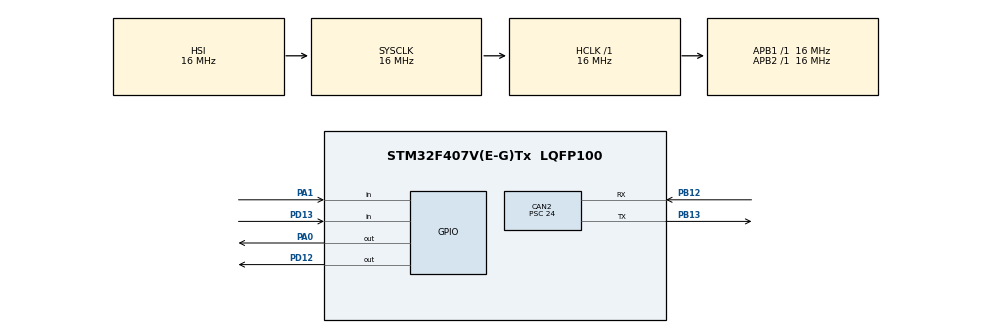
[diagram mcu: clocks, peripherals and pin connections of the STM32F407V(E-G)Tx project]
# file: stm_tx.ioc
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CAN2.BS1=CAN_BS1_13TQ
CAN2.BS2=CAN_BS2_2TQ
CAN2.CalculateBaudRate=41666
CAN2.CalculateTimeBit=24000
CAN2.CalculateTimeQuantum=1500.0
CAN2.Prescaler=24
Mcu.Family=STM32F4
Mcu.Name=STM32F407V(E-G)Tx
Mcu.Package=LQFP100
NVIC.PriorityGroup=NVIC_PRIORITYGROUP_4
PA0-WKUP.Signal=GPIO_Output
PA1.Signal=GPIO_Input
PA13.Mode=Serial_Wire
PA13.Signal=SYS_JTMS-SWDIO
PA14.Mode=Serial_Wire
PA14.Signal=SYS_JTCK-SWCLK
PB12.Mode=CAN_Activate
PB12.Signal=CAN2_RX
PB13.Mode=CAN_Activate
PB13.Signal=CAN2_TX
PD12.Signal=GPIO_Output
PD13.Signal=GPIO_Input
ProjectManager.HeapSize=0x200
ProjectManager.StackSize=0x400
ProjectManager.TargetToolchain=STM32CubeIDE
RCC.AHBFreq_Value=16000000
RCC.APB1Freq_Value=16000000
RCC.APB2Freq_Value=16000000
RCC.CortexFreq_Value=16000000
RCC.HSE_VALUE=25000000
RCC.HSI_VALUE=16000000
RCC.LSE_VALUE=32768
RCC.SYSCLKFreq_VALUE=16000000
RCC.VCOOutputFreq_Value=192000000
TIM2.Prescaler=83
VP_TIM2_VS_ClockSourceINT.Mode=Internal
board=custom

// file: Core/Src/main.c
/* USER CODE BEGIN Header */
/**
  ******************************************************************************
  * Authors: Prasad Kulkarni,Onkar chougule, Lalit Deshpande,Karan Solanki
  * CDAC ACTS,pune DESD(march 2024)
  * @file           : main.c
  * @brief          : Transmitting ultrasonic data to another node via CAN
  ******************************************************************************
  * @attention
  *
  * Copyright (c) 2024 STMicroelectronics.
  * All rights reserved.
  *
  * This software is licensed under terms that can be found in the LICENSE file
  * in the root directory of this software component.
  * If no LICENSE file comes with this software, it is provided AS-IS.
  *
  ******************************************************************************
  */
/* USER CODE END Header */
#include "main.h"
/* USER CODE BEGIN Includes */
#include <stdio.h>
#include <string.h>
/* USER CODE END Includes */

/* USER CODE BEGIN PD */

#define TRIG_PORT_FRONT  GPIOA
#define TRIG_PIN_FRONT   GPIO_PIN_0
#define ECHO_PIN_FRONT   GPIO_PIN_1
#define TRIG_PORT_REAR	 GPIOD
#define TRIG_PIN_REAR    GPIO_PIN_12
#define ECHO_PIN_REAR  	 GPIO_PIN_13

/* USER CODE END PD */

CAN_HandleTypeDef hcan2;
TIM_HandleTypeDef htim2;
/* USER CODE BEGIN PV */
uint8_t distance_message[8];
float distance_front;
float distance_rear;
/* USER CODE END PV */

void SystemClock_Config(void);
static void MX_GPIO_Init(void);
static void MX_CAN2_Init(void);
static void MX_TIM2_Init(void);
/* USER CODE BEGIN PFP */
/* Private function prototypes -----------------------------------------------*/
void SystemClock_Config(void);
static void MX_GPIO_Init(void);
static void MX_CAN2_Init(void);
static void MX_TIM2_Init(void);
/* USER CODE END PFP */

/* USER CODE BEGIN 0 */
float getDistance(GPIO_TypeDef *GPIO_PORT, uint16_t GPIO_Pin_Trigger, uint16_t GPIO_Pin_Echo);
void CAN_Filter_Config(void);
void CAN2_Tx(float,float);
void Error_Handler(void);
/* USER CODE END 0 */

int main(void)
{

  /* MCU Configuration--------------------------------------------------------*/

  /* Reset of all peripherals, Initializes the Flash interface and the Systick. */

	HAL_Init();

  /* Configure the system clock */
  SystemClock_Config();

  /* Initialize all configured peripherals */
  MX_GPIO_Init();
  MX_CAN2_Init();
  MX_TIM2_Init();
  /* USER CODE BEGIN 2 */
  CAN_Filter_Config();

  if (HAL_CAN_Start(&hcan2) != HAL_OK)
  {
    Error_Handler();
  }

  HAL_TIM_Base_Start(&htim2);  // Start the timer

  /* USER CODE END 2 */

  /* Infinite loop */
  /* USER CODE BEGIN WHILE */
  while (1)
  {
	  /* receiving front distance from ultrasonic sensor */
	  distance_front = getDistance(TRIG_PORT_FRONT,TRIG_PIN_FRONT,ECHO_PIN_FRONT);
	  /* for optimization , cm conversion dividing it with 2*/
	  distance_front = distance_front/2;

	  /* receiving rear distance from ultrasonic sensor */
	  distance_rear = getDistance(TRIG_PORT_REAR,TRIG_PIN_REAR,ECHO_PIN_REAR);
	  /* for optimization , cm conversion dividing it with 2*/
	  distance_rear = distance_rear/2;

	  /* transmitting front and rear distance to can for transmission*/
	  CAN2_Tx(distance_front,distance_rear);
	  HAL_Delay(500);
	  /* USER CODE END WHILE */
  }
}

void SystemClock_Config(void)
{
  RCC_OscInitTypeDef RCC_OscInitStruct = {0};
  RCC_ClkInitTypeDef RCC_ClkInitStruct = {0};

  /** Configure the main internal regulator output voltage
  */
  __HAL_RCC_PWR_CLK_ENABLE();
  __HAL_PWR_VOLTAGESCALING_CONFIG(PWR_REGULATOR_VOLTAGE_SCALE1);

  /** Initializes the RCC Oscillators according to the specified parameters
  * in the RCC_OscInitTypeDef structure.
  */
  RCC_OscInitStruct.OscillatorType = RCC_OSCILLATORTYPE_HSI;
  RCC_OscInitStruct.HSIState = RCC_HSI_ON;
  RCC_OscInitStruct.HSICalibrationValue = RCC_HSICALIBRATION_DEFAULT;
  RCC_OscInitStruct.PLL.PLLState = RCC_PLL_NONE;
  if (HAL_RCC_OscConfig(&RCC_OscInitStruct) != HAL_OK)
  {
    Error_Handler();
  }

  /** Initializes the CPU, AHB and APB buses clocks
  */
  RCC_ClkInitStruct.ClockType = RCC_CLOCKTYPE_HCLK|RCC_CLOCKTYPE_SYSCLK
                              |RCC_CLOCKTYPE_PCLK1|RCC_CLOCKTYPE_PCLK2;
  RCC_ClkInitStruct.SYSCLKSource = RCC_SYSCLKSOURCE_HSI;
  RCC_ClkInitStruct.AHBCLKDivider = RCC_SYSCLK_DIV1;
  RCC_ClkInitStruct.APB1CLKDivider = RCC_HCLK_DIV1;
  RCC_ClkInitStruct.APB2CLKDivider = RCC_HCLK_DIV1;

  if (HAL_RCC_ClockConfig(&RCC_ClkInitStruct, FLASH_LATENCY_0) != HAL_OK)
  {
    Error_Handler();
  }
}

static void MX_CAN2_Init(void)
{

  hcan2.Instance = CAN2;
  hcan2.Init.Prescaler = 24;
  hcan2.Init.Mode = CAN_MODE_NORMAL;
  hcan2.Init.SyncJumpWidth = CAN_SJW_1TQ;
  hcan2.Init.TimeSeg1 = CAN_BS1_13TQ;
  hcan2.Init.TimeSeg2 = CAN_BS2_2TQ;
  hcan2.Init.TimeTriggeredMode = DISABLE;
  hcan2.Init.AutoBusOff = DISABLE;
  hcan2.Init.AutoWakeUp = DISABLE;
  hcan2.Init.AutoRetransmission = DISABLE;
  hcan2.Init.ReceiveFifoLocked = DISABLE;
  hcan2.Init.TransmitFifoPriority = DISABLE;
  if (HAL_CAN_Init(&hcan2) != HAL_OK)
  {
    Error_Handler();
  }

}

static void MX_TIM2_Init(void)
{

  TIM_ClockConfigTypeDef sClockSourceConfig = {0};
  TIM_MasterConfigTypeDef sMasterConfig = {0};

  htim2.Instance = TIM2;
  htim2.Init.Prescaler = 83;
  htim2.Init.CounterMode = TIM_COUNTERMODE_UP;
  htim2.Init.Period = 4294967295;
  htim2.Init.ClockDivision = TIM_CLOCKDIVISION_DIV1;
  htim2.Init.AutoReloadPreload = TIM_AUTORELOAD_PRELOAD_DISABLE;
  if (HAL_TIM_Base_Init(&htim2) != HAL_OK)
  {
    Error_Handler();
  }
  sClockSourceConfig.ClockSource = TIM_CLOCKSOURCE_INTERNAL;
  if (HAL_TIM_ConfigClockSource(&htim2, &sClockSourceConfig) != HAL_OK)
  {
    Error_Handler();
  }
  sMasterConfig.MasterOutputTrigger = TIM_TRGO_RESET;
  sMasterConfig.MasterSlaveMode = TIM_MASTERSLAVEMODE_DISABLE;
  if (HAL_TIMEx_MasterConfigSynchronization(&htim2, &sMasterConfig) != HAL_OK)
  {
    Error_Handler();
  }

}

static void MX_GPIO_Init(void)
{
  GPIO_InitTypeDef GPIO_InitStruct = {0};

  /* GPIO Ports Clock Enable */
  __HAL_RCC_GPIOA_CLK_ENABLE();
  __HAL_RCC_GPIOB_CLK_ENABLE();
  __HAL_RCC_GPIOD_CLK_ENABLE();

  /*Configure GPIO pin Output Level */
  HAL_GPIO_WritePin(GPIOA, GPIO_PIN_0, GPIO_PIN_RESET);

  /*Configure GPIO pin Output Level */
  HAL_GPIO_WritePin(GPIOD, GPIO_PIN_12, GPIO_PIN_RESET);

  /*Configure GPIO pin : PA0 */
  GPIO_InitStruct.Pin = GPIO_PIN_0;
  GPIO_InitStruct.Mode = GPIO_MODE_OUTPUT_PP;
  GPIO_InitStruct.Pull = GPIO_NOPULL;
  GPIO_InitStruct.Speed = GPIO_SPEED_FREQ_LOW;
  HAL_GPIO_Init(GPIOA, &GPIO_InitStruct);

  /*Configure GPIO pin : PA1 */
  GPIO_InitStruct.Pin = GPIO_PIN_1;
  GPIO_InitStruct.Mode = GPIO_MODE_INPUT;
  GPIO_InitStruct.Pull = GPIO_NOPULL;
  HAL_GPIO_Init(GPIOA, &GPIO_InitStruct);

  /*Configure GPIO pin : PD12 */
  GPIO_InitStruct.Pin = GPIO_PIN_12;
  GPIO_InitStruct.Mode = GPIO_MODE_OUTPUT_PP;
  GPIO_InitStruct.Pull = GPIO_NOPULL;
  GPIO_InitStruct.Speed = GPIO_SPEED_FREQ_LOW;
  HAL_GPIO_Init(GPIOD, &GPIO_InitStruct);

  /*Configure GPIO pin : PD13 */
  GPIO_InitStruct.Pin = GPIO_PIN_13;
  GPIO_InitStruct.Mode = GPIO_MODE_INPUT;
  GPIO_InitStruct.Pull = GPIO_NOPULL;
  HAL_GPIO_Init(GPIOD, &GPIO_InitStruct);

}

/* USER CODE BEGIN 4 */

/**
  * @brief This function configures the CAN filter
  * @retval None
  */
void CAN_Filter_Config(void)
{
  CAN_FilterTypeDef can2_filter_init;

  can2_filter_init.FilterActivation = ENABLE;
  can2_filter_init.FilterBank = 0;
  can2_filter_init.FilterFIFOAssignment = CAN_RX_FIFO0;
  can2_filter_init.FilterIdHigh = 0x65D << 5; // Standard ID shifted to 11 bits
  can2_filter_init.FilterIdLow = 0x0000;
  can2_filter_init.FilterMaskIdHigh = 0xFFFF;
  can2_filter_init.FilterMaskIdLow = 0x0000;
  can2_filter_init.FilterMode = CAN_FILTERMODE_IDMASK;
  can2_filter_init.FilterScale = CAN_FILTERSCALE_32BIT;

  if (HAL_CAN_ConfigFilter(&hcan2, &can2_filter_init) != HAL_OK)
  {
    Error_Handler();
  }
}

/**
  * @brief This function sends a CAN message with the distance data
  * @param distance: The distance value to send
  *
  */
void CAN2_Tx(float f_distance,float r_distance)
{
  CAN_TxHeaderTypeDef TxHeader;
  uint32_t TxMailbox;

  /* here we are sending front and rear distance in one single array
   * where first half of array will contain front ultrasonic distance value
   * and second half of array will contain rear ultrasonic distance value*/
  memcpy(&distance_message[0],&f_distance,sizeof(float));
  memcpy(&distance_message[4],&r_distance,sizeof(float));

  TxHeader.DLC = 8;							/* The Data Length Code specifies the length
  	  	  	  	  	  	  	  	  	  	  	 *of the data in the CAN frame */

  TxHeader.StdId = 0x65D; 					/*The Standard Identifier is the unique address used
   	   	   	   	   	   	   	   	   	   	   	 *to identify the CAN message. It’s used for arbitration on
   	   	   	   	   	   	   	   	   	   	   	 *to the CAN bus.*/

  TxHeader.IDE = CAN_ID_STD;				/* The Identifier Extension bit determines whether the CAN message
  	  	  	  	  	  	  	  	  	  	  	 * uses a standard 11-bit identifier (CAN_ID_STD)
  	  	  	  	  	  	  	  	  	  	  	 * or an extended 29-bit identifier (CAN_ID_EXT)*/

  TxHeader.RTR = CAN_RTR_DATA;				/*RTR: Stands for Remote Transmission Request.
   	   	   	   	   	   	   	   	   	   	   	 *CAN_RTR_DATA indicates that the message is a data frame,
   	   	   	   	   	   	   	   	   	   	   	 *CAN_RTR_DATA meaning it contains actual data to be sent*/

  TxHeader.TransmitGlobalTime = DISABLE;	/* This option allows you to include a global timestamp in the CAN frame,
   	   	   	   	   	   	   	   	   	   	   	 * which could be used for synchronization purposes.*/

  /* transmitting the message */
  if (HAL_CAN_AddTxMessage(&hcan2, &TxHeader, distance_message, &TxMailbox) != HAL_OK)
  {
    Error_Handler();
  }

  while (HAL_CAN_IsTxMessagePending(&hcan2, TxMailbox)); // Wait until transmission is complete
}

/**
  * @brief This function gets the distance from the ultrasonic sensor
  * @retval Distance in cm
  */
float getDistance(GPIO_TypeDef *GPIO_PORT, uint16_t GPIO_Pin_Trigger, uint16_t GPIO_Pin_Echo)
{
  float local_time = 0;
  HAL_GPIO_WritePin(GPIO_PORT, GPIO_Pin_Trigger, GPIO_PIN_SET); 	 /* Pull the TRIG pin HIGH 			*/
  HAL_Delay(1);  													 /* Wait for 1 ms 					*/
  HAL_GPIO_WritePin(GPIO_PORT, GPIO_Pin_Trigger, GPIO_PIN_RESET);    /* Pull the TRIG pin low			*/

  while (!(HAL_GPIO_ReadPin(GPIO_PORT, GPIO_Pin_Echo))); 			 /* Wait for the ECHO pin to go high*/

  __HAL_TIM_SET_COUNTER(&htim2, 0); 								 /* Clear the timer counter			*/

  while (HAL_GPIO_ReadPin(GPIO_PORT, GPIO_Pin_Echo));  				 /* Wait for the ECHO pin to go low */

  local_time = __HAL_TIM_GET_COUNTER(&htim2);  						 /* Read the timer counter			*/

  return local_time * 0.34 / 2;  									 /* Convert to distance in cm 		*/

}

/* USER CODE END 4 */

void Error_Handler(void)
{
  __disable_irq();
  while (1)
  {
  }
}
